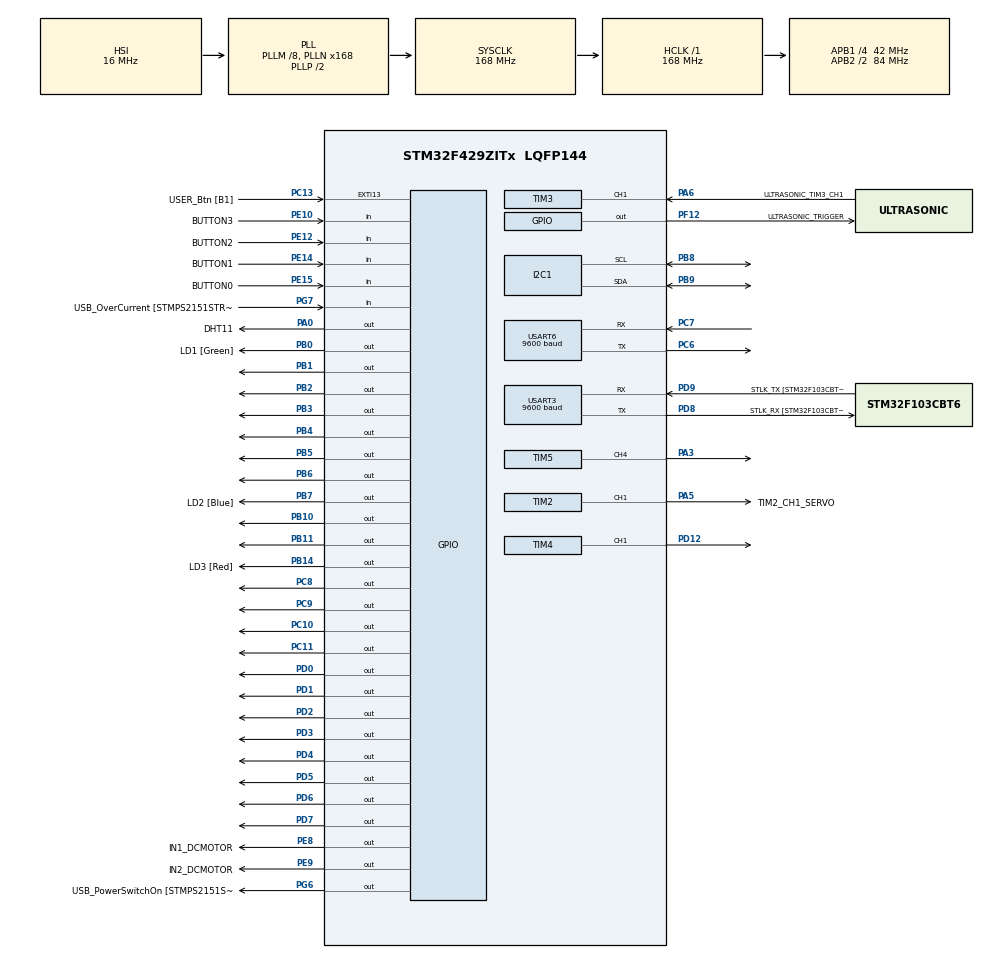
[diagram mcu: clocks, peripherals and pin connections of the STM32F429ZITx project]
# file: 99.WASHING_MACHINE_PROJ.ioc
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Mcu.Family=STM32F4
Mcu.Name=STM32F429ZITx
Mcu.Package=LQFP144
NVIC.PriorityGroup=NVIC_PRIORITYGROUP_4
NVIC.TIM1_TRG_COM_TIM11_IRQn=true\:0\:0\:false\:false\:true\:true\:true\:true
NVIC.TIM1_UP_TIM10_IRQn=true\:0\:0\:false\:false\:true\:true\:true\:true
NVIC.TIM2_IRQn=true\:0\:0\:false\:false\:true\:true\:true\:true
NVIC.TIM3_IRQn=true\:0\:0\:false\:false\:true\:true\:true\:true
NVIC.TIM4_IRQn=true\:0\:0\:false\:false\:true\:true\:true\:true
NVIC.TIM5_IRQn=true\:0\:0\:false\:false\:true\:true\:true\:true
NVIC.USART3_IRQn=true\:0\:0\:false\:false\:true\:true\:true\:true
PA0/WKUP.GPIO_Label=DHT11
PA0/WKUP.Signal=GPIO_Output
PA1.GPIO_Label=RMII_REF_CLK [LAN8742A-CZ-TR_REFCLK0]
PA1.Signal=ETH_REF_CLK
PA10.GPIO_Label=USB_ID
PA10.Signal=USB_OTG_FS_ID
PA11.GPIO_Label=USB_DM
PA11.Signal=USB_OTG_FS_DM
PA12.GPIO_Label=USB_DP
PA12.Signal=USB_OTG_FS_DP
PA13.GPIO_Label=TMS
PA13.Signal=SYS_JTMS-SWDIO
PA14.GPIO_Label=TCK
PA14.Signal=SYS_JTCK-SWCLK
PA2.GPIO_Label=RMII_MDIO [LAN8742A-CZ-TR_MDIO]
PA2.Signal=ETH_MDIO
PA3.Signal=S_TIM5_CH4
PA5.GPIO_Label=TIM2_CH1_SERVO
PA5.Signal=S_TIM2_CH1_ETR
PA6.GPIO_Label=ULTRASONIC_TIM3_CH1
PA6.Signal=S_TIM3_CH1
PA7.GPIO_Label=RMII_CRS_DV [LAN8742A-CZ-TR_CRS_DV]
PA7.Signal=ETH_CRS_DV
PA8.GPIO_Label=USB_SOF [TP1]
PA8.Signal=USB_OTG_FS_SOF
PA9.GPIO_Label=USB_VBUS
PA9.Signal=USB_OTG_FS_VBUS
PB0.GPIO_Label=LD1 [Green]
PB0.Signal=GPIO_Output
PB1.Signal=GPIO_Output
PB10.Signal=GPIO_Output
PB11.Signal=GPIO_Output
PB13.GPIO_Label=RMII_TXD1 [LAN8742A-CZ-TR_TXD1]
PB13.Signal=ETH_TXD1
PB14.GPIO_Label=LD3 [Red]
PB14.Signal=GPIO_Output
PB2/BOOT1.Signal=GPIO_Output
PB3.Signal=GPIO_Output
PB4.Signal=GPIO_Output
PB5.Signal=GPIO_Output
PB6.Signal=GPIO_Output
PB7.GPIO_Label=LD2 [Blue]
PB7.Signal=GPIO_Output
PB8.Mode=I2C
PB8.Signal=I2C1_SCL
PB9.Mode=I2C
PB9.Signal=I2C1_SDA
PC1.GPIO_Label=RMII_MDC [LAN8742A-CZ-TR_MDC]
PC1.Signal=ETH_MDC
PC10.Signal=GPIO_Output
PC11.Signal=GPIO_Output
PC13.GPIO_Label=USER_Btn [B1]
PC13.Signal=GPXTI13
PC14/OSC32_IN.Signal=RCC_OSC32_IN
PC15/OSC32_OUT.Signal=RCC_OSC32_OUT
PC4.GPIO_Label=RMII_RXD0 [LAN8742A-CZ-TR_RXD0]
PC4.Signal=ETH_RXD0
PC5.GPIO_Label=RMII_RXD1 [LAN8742A-CZ-TR_RXD1]
PC5.Signal=ETH_RXD1
PC6.Mode=Asynchronous
PC6.Signal=USART6_TX
PC7.Mode=Asynchronous
PC7.Signal=USART6_RX
PC8.Signal=GPIO_Output
PC9.Signal=GPIO_Output
PD0.Signal=GPIO_Output
PD1.Signal=GPIO_Output
PD12.Signal=S_TIM4_CH1
PD2.Signal=GPIO_Output
PD3.Signal=GPIO_Output
PD4.Signal=GPIO_Output
PD5.Signal=GPIO_Output
PD6.Signal=GPIO_Output
PD7.Signal=GPIO_Output
PD8.GPIO_Label=STLK_RX [STM32F103CBT6_PA3]
PD8.Mode=Asynchronous
PD8.Signal=USART3_TX
PD9.GPIO_Label=STLK_TX [STM32F103CBT6_PA2]
PD9.Mode=Asynchronous
PD9.Signal=USART3_RX
PE10.GPIO_Label=BUTTON3
PE10.Signal=GPIO_Input
PE12.GPIO_Label=BUTTON2
PE12.Signal=GPIO_Input
PE14.GPIO_Label=BUTTON1
PE14.Signal=GPIO_Input
PE15.GPIO_Label=BUTTON0
PE15.Signal=GPIO_Input
PE8.GPIO_Label=IN1_DCMOTOR
PE8.Signal=GPIO_Output
PE9.GPIO_Label=IN2_DCMOTOR
PE9.Signal=GPIO_Output
PF12.GPIO_Label=ULTRASONIC_TRIGGER
PF12.Signal=GPIO_Output
PG11.GPIO_Label=RMII_TX_EN [LAN8742A-CZ-TR_TXEN]
PG11.Signal=ETH_TX_EN
PG13.GPIO_Label=RMII_TXD0 [LAN8742A-CZ-TR_TXD0]
PG13.Signal=ETH_TXD0
PG6.GPIO_Label=USB_PowerSwitchOn [STMPS2151STR_EN]
PG6.Signal=GPIO_Output
PG7.GPIO_Label=USB_OverCurrent [STMPS2151STR_FAULT]
PG7.Signal=GPIO_Input
PH0/OSC_IN.GPIO_Label=MCO [STM32F103CBT6_PA8]
PH0/OSC_IN.Signal=RCC_OSC_IN
PH1/OSC_OUT.Signal=RCC_OSC_OUT
ProjectManager.HeapSize=0x200
ProjectManager.StackSize=0x400
ProjectManager.TargetToolchain=STM32CubeIDE
RCC.48MHZClocksFreq_Value=84000000
RCC.AHBFreq_Value=168000000
RCC.APB1CLKDivider=RCC_HCLK_DIV4
RCC.APB1Freq_Value=42000000
RCC.APB1TimFreq_Value=84000000
RCC.APB2CLKDivider=RCC_HCLK_DIV2
RCC.APB2Freq_Value=84000000
RCC.APB2TimFreq_Value=168000000
RCC.CortexFreq_Value=168000000
RCC.HCLKFreq_Value=168000000
RCC.HSE_VALUE=8000000
RCC.HSI_VALUE=16000000
RCC.LSE_VALUE=32768
RCC.PLLM=8
RCC.PLLMUL=RCC_PLL_MUL9
RCC.PLLN=168
RCC.PRESCALERUSB=RCC_USBCLKSOURCE_PLL_DIV1_5
RCC.SYSCLKFreq_VALUE=168000000
RCC.SYSCLKSource=RCC_SYSCLKSOURCE_PLLCLK
RCC.SYSCLKSourceVirtual=RCC_SYSCLKSOURCE_PLLCLK
RCC.USBFreq_Value=48000000
RCC.VCOOutputFreq_Value=336000000
RTC.Date=16
RTC.Hours=9
RTC.Minutes=38
RTC.Month=RTC_MONTH_OCTOBER
RTC.Year=23
SH.S_TIM2_CH1_ETR.0=TIM2_CH1,PWM Generation1 CH1
SH.S_TIM3_CH1.0=TIM3_CH1,Input_Capture1_from_TI1
SH.S_TIM4_CH1.0=TIM4_CH1,PWM Generation1 CH1
SH.S_TIM5_CH4.0=TIM5_CH4,PWM Generation4 CH4
TIM10.Period=10000-1
TIM10.Prescaler=168-1
TIM11.Prescaler=168-1
TIM2.Channel-PWM\ Generation1\ CH1=TIM_CHANNEL_1
TIM2.Period=1000-1
TIM2.Prescaler=1680-1
TIM2.Pulse-PWM\ Generation1\ CH1=500-1
TIM3.Channel-Input_Capture1_from_TI1=TIM_CHANNEL_1
TIM3.ICPolarity_CH1=TIM_INPUTCHANNELPOLARITY_BOTHEDGE
TIM3.Prescaler=84-1
TIM4.Channel-PWM\ Generation1\ CH1=TIM_CHANNEL_1
TIM4.OCFastMode_PWM-PWM\ Generation1\ CH1=TIM_OCFAST_ENABLE
TIM4.Period=100-1
TIM4.Prescaler=840-1
TIM4.Pulse-PWM\ Generation1\ CH1=70-1
TIM5.Channel-PWM\ Generation4\ CH4=TIM_CHANNEL_4
TIM5.Period=400-1
TIM5.Prescaler=52.5-1
TIM5.Pulse-PWM\ Generation4\ CH4=200-1
USART3.BaudRate=9600
USART3.VirtualMode=VM_ASYNC
USART6.BaudRate=9600
USART6.VirtualMode=VM_ASYNC
VP_RTC_VS_RTC_Activate.Mode=RTC_Enabled
VP_RTC_VS_RTC_Calendar.Mode=RTC_Calendar
VP_TIM10_VS_ClockSourceINT.Mode=Enable_Timer
VP_TIM11_VS_ClockSourceINT.Mode=Enable_Timer
VP_TIM4_VS_ClockSourceINT.Mode=Internal
board=NUCLEO-F429ZI

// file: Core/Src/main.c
/* USER CODE BEGIN Header */
/**
  ******************************************************************************
  * @file           : main.c
  * @brief          : Main program body
  ******************************************************************************
  * @attention
  *
  * Copyright (c) 2023 STMicroelectronics.
  * All rights reserved.
  *
  * This software is licensed under terms that can be found in the LICENSE file
  * in the root directory of this software component.
  * If no LICENSE file comes with this software, it is provided AS-IS.
  *
  ******************************************************************************
  */
/* USER CODE END Header */
#include "main.h"

I2C_HandleTypeDef hi2c1;

RTC_HandleTypeDef hrtc;

TIM_HandleTypeDef htim2;
TIM_HandleTypeDef htim3;
TIM_HandleTypeDef htim4;
TIM_HandleTypeDef htim5;
TIM_HandleTypeDef htim10;
TIM_HandleTypeDef htim11;

UART_HandleTypeDef huart3;
UART_HandleTypeDef huart6;

/* USER CODE BEGIN PV */
uint8_t rx_data;
uint8_t bt_rx_data;
volatile int TIM10_10ms_counter = 0;
volatile int TIM10_10ms_ultrasonic = 0;
/* USER CODE END PV */

void SystemClock_Config(void);
static void MX_GPIO_Init(void);
static void MX_USART3_UART_Init(void);
static void MX_USART6_UART_Init(void);
static void MX_TIM10_Init(void);
static void MX_TIM11_Init(void);
static void MX_TIM3_Init(void);
static void MX_I2C1_Init(void);
static void MX_TIM4_Init(void);
static void MX_TIM2_Init(void);
static void MX_RTC_Init(void);
static void MX_TIM5_Init(void);
/* USER CODE BEGIN PFP */
extern void led_main(void);
extern void pc_command_processing(void);
extern void pc_command_processing2(void);
extern void bt_command_processing(void);
extern void DHT11_main(void);
extern void DHT11_Init(void);
extern void DHT11_processing(void);
extern void ultrasonic_processing(void);
extern void i2c_lcd_main(void);
extern void i2c_lcd_init(void);
extern void lcd_string(uint8_t *str);
extern void move_cursor(uint8_t row, uint8_t column);
extern void dcmotor_pwm_control(void);
extern void servo_motor_test_main(void);
extern void get_rtc(void);
extern void lcd_display_mode_select(void);
extern void set_time_button_ui(void);
extern void buzzer_main();
extern void fnd4digit_main(void);
extern void FND4digit_off(void);
extern void fnd4digit_sec_clock(void);

extern void washing_machine_main(void);
void WM_dcmotor_control(void);

void delay_us(unsigned char us);
/* USER CODE END PFP */

/* USER CODE BEGIN 0 */
//-------------------------
// call by Systick_Handler of Stm32f4xx_it.c
// ARM default timer
// enter here every 1ms
volatile int t1ms_count = 0;		// volatile : disable optimize
volatile int fnd1ms_counter = 0;

void HAL_SYSTICK_Handler(void)		// timer interrupt
{
	t1ms_count++;		// 1ms timer
	fnd1ms_counter++;
}
//----------  printf start ----------
#ifdef __GNUC__
/* With GCC, small printf (option LD Linker->Libraries->Small printf
   set to 'Yes') calls __io_putchar() */
#define PUTCHAR_PROTOTYPE int __io_putchar(int ch)
#else
#define PUTCHAR_PROTOTYPE int fputc(int ch, FILE *f)
#endif /* __GNUC_ */
/**
  * @brief  Retargets the C library printf function to the USART.
  * @param  None
  * @retval None
  */
PUTCHAR_PROTOTYPE   // Add for printf
{
  /* Place your implementation of fputc here */
  /* e.g. write a character to the USART3 and Loop until the end of transmission */
  HAL_UART_Transmit(&huart3, (uint8_t *)&ch, 1, 0xFFFF);

  return ch;
}
//----------  printf end ----------
// move from Driver/STM32E4xx_HAL_Driver/stm32f4xx_hal_tim.c
//
void HAL_TIM_PeriodElapsedCallback(TIM_HandleTypeDef *htim)
{
	if (htim->Instance == TIM10)
	{
		TIM10_10ms_counter++;		// 10ms timer counter
		TIM10_10ms_ultrasonic++;	// ultrasonic trigger counter
	}
}

void delay_us(unsigned char us)
{
	__HAL_TIM_SET_COUNTER(&htim11, 0);		// clear tim11
	while (__HAL_TIM_GET_COUNTER(&htim11) < us)
		;
}
/* USER CODE END 0 */

int main(void)
{

  /* MCU Configuration--------------------------------------------------------*/

  /* Reset of all peripherals, Initializes the Flash interface and the Systick. */
  HAL_Init();

  /* Configure the system clock */
  SystemClock_Config();

  /* Initialize all configured peripherals */
  MX_GPIO_Init();
  MX_USART3_UART_Init();
  MX_USART6_UART_Init();
  MX_TIM10_Init();
  MX_TIM11_Init();
  MX_TIM3_Init();
  MX_I2C1_Init();
  MX_TIM4_Init();
  MX_TIM2_Init();
  MX_RTC_Init();
  MX_TIM5_Init();
  /* USER CODE BEGIN 2 */
  HAL_UART_Receive_IT(&huart3, &rx_data, 1);		// assing to RX INT
  HAL_UART_Receive_IT(&huart6, &bt_rx_data, 1);		// assing to RX INT
  HAL_TIM_Base_Start_IT(&htim10);
  HAL_TIM_Base_Start_IT(&htim11);
  HAL_TIM_IC_Start_IT(&htim3, TIM_CHANNEL_1);		// for count pulse(rising edge & falling edge)
  HAL_TIM_PWM_Start_IT(&htim4, TIM_CHANNEL_1);		// for DC motor PWN control
  HAL_TIM_PWM_Start(&htim2, TIM_CHANNEL_1);
  HAL_TIM_PWM_Start(&htim5, TIM_CHANNEL_4);

  DHT11_Init();
  i2c_lcd_init();
  FND4digit_off();

  TIM10_10ms_counter = 0;
//  printf("led_main() start !!!\n");;
// 	led_main();
//  DHT11_main();
//  i2c_lcd_main();
//  servo_motor_test_main();

  /* USER CODE END 2 */

  /* Infinite loop */
  /* USER CODE BEGIN WHILE */
  while (1)
  {
//	  pc_command_processing();
//	  pc_command_processing2();		// for circular queue
//	  bt_command_processing();
//	  DHT11_processing();
//	  ultrasonic_processing();
//	  dcmotor_pwm_control();
//	  get_rtc();
//	  lcd_display_mode_select();
//	  set_time_button_ui();
//	  buzzer_main();
//	  fnd4digit_main();
//	  fnd4digit_sec_clock();

	  washing_machine_main();

#if 0
	  if (TIM10_10ms_counter >= 5)
	  {
		  HAL_GPIO_TogglePin(GPIOB, GPIO_PIN_0);		// LED1
	  }
	  if (TIM10_10ms_counter >= 10)
	  {
		  HAL_GPIO_TogglePin(GPIOB, GPIO_PIN_7);		// LED2
	  }
	  if (TIM10_10ms_counter >= 15)
	  {
		  HAL_GPIO_TogglePin(GPIOB, GPIO_PIN_14);		// LED3
		  TIM10_10ms_counter = 0;		// clear this variable
	  }
#endif
    /* USER CODE END WHILE */

  }
}

void SystemClock_Config(void)
{
  RCC_OscInitTypeDef RCC_OscInitStruct = {0};
  RCC_ClkInitTypeDef RCC_ClkInitStruct = {0};

  /** Configure the main internal regulator output voltage
  */
  __HAL_RCC_PWR_CLK_ENABLE();
  __HAL_PWR_VOLTAGESCALING_CONFIG(PWR_REGULATOR_VOLTAGE_SCALE1);

  /** Initializes the RCC Oscillators according to the specified parameters
  * in the RCC_OscInitTypeDef structure.
  */
  RCC_OscInitStruct.OscillatorType = RCC_OSCILLATORTYPE_HSI|RCC_OSCILLATORTYPE_LSI;
  RCC_OscInitStruct.HSIState = RCC_HSI_ON;
  RCC_OscInitStruct.HSICalibrationValue = RCC_HSICALIBRATION_DEFAULT;
  RCC_OscInitStruct.LSIState = RCC_LSI_ON;
  RCC_OscInitStruct.PLL.PLLState = RCC_PLL_ON;
  RCC_OscInitStruct.PLL.PLLSource = RCC_PLLSOURCE_HSI;
  RCC_OscInitStruct.PLL.PLLM = 8;
  RCC_OscInitStruct.PLL.PLLN = 168;
  RCC_OscInitStruct.PLL.PLLP = RCC_PLLP_DIV2;
  RCC_OscInitStruct.PLL.PLLQ = 4;
  if (HAL_RCC_OscConfig(&RCC_OscInitStruct) != HAL_OK)
  {
    Error_Handler();
  }

  /** Initializes the CPU, AHB and APB buses clocks
  */
  RCC_ClkInitStruct.ClockType = RCC_CLOCKTYPE_HCLK|RCC_CLOCKTYPE_SYSCLK
                              |RCC_CLOCKTYPE_PCLK1|RCC_CLOCKTYPE_PCLK2;
  RCC_ClkInitStruct.SYSCLKSource = RCC_SYSCLKSOURCE_PLLCLK;
  RCC_ClkInitStruct.AHBCLKDivider = RCC_SYSCLK_DIV1;
  RCC_ClkInitStruct.APB1CLKDivider = RCC_HCLK_DIV4;
  RCC_ClkInitStruct.APB2CLKDivider = RCC_HCLK_DIV2;

  if (HAL_RCC_ClockConfig(&RCC_ClkInitStruct, FLASH_LATENCY_5) != HAL_OK)
  {
    Error_Handler();
  }
}

static void MX_I2C1_Init(void)
{

  hi2c1.Instance = I2C1;
  hi2c1.Init.ClockSpeed = 100000;
  hi2c1.Init.DutyCycle = I2C_DUTYCYCLE_2;
  hi2c1.Init.OwnAddress1 = 0;
  hi2c1.Init.AddressingMode = I2C_ADDRESSINGMODE_7BIT;
  hi2c1.Init.DualAddressMode = I2C_DUALADDRESS_DISABLE;
  hi2c1.Init.OwnAddress2 = 0;
  hi2c1.Init.GeneralCallMode = I2C_GENERALCALL_DISABLE;
  hi2c1.Init.NoStretchMode = I2C_NOSTRETCH_DISABLE;
  if (HAL_I2C_Init(&hi2c1) != HAL_OK)
  {
    Error_Handler();
  }

  /** Configure Analogue filter
  */
  if (HAL_I2CEx_ConfigAnalogFilter(&hi2c1, I2C_ANALOGFILTER_ENABLE) != HAL_OK)
  {
    Error_Handler();
  }

  /** Configure Digital filter
  */
  if (HAL_I2CEx_ConfigDigitalFilter(&hi2c1, 0) != HAL_OK)
  {
    Error_Handler();
  }

}

static void MX_RTC_Init(void)
{

  RTC_TimeTypeDef sTime = {0};
  RTC_DateTypeDef sDate = {0};

  /** Initialize RTC Only
  */
  hrtc.Instance = RTC;
  hrtc.Init.HourFormat = RTC_HOURFORMAT_24;
  hrtc.Init.AsynchPrediv = 127;
  hrtc.Init.SynchPrediv = 255;
  hrtc.Init.OutPut = RTC_OUTPUT_DISABLE;
  hrtc.Init.OutPutPolarity = RTC_OUTPUT_POLARITY_HIGH;
  hrtc.Init.OutPutType = RTC_OUTPUT_TYPE_OPENDRAIN;
  if (HAL_RTC_Init(&hrtc) != HAL_OK)
  {
    Error_Handler();
  }

  /** Initialize RTC and set the Time and Date
  */
  sTime.Hours = 0x9;
  sTime.Minutes = 0x38;
  sTime.Seconds = 0x0;
  sTime.DayLightSaving = RTC_DAYLIGHTSAVING_NONE;
  sTime.StoreOperation = RTC_STOREOPERATION_RESET;
  if (HAL_RTC_SetTime(&hrtc, &sTime, RTC_FORMAT_BCD) != HAL_OK)
  {
    Error_Handler();
  }
  sDate.WeekDay = RTC_WEEKDAY_MONDAY;
  sDate.Month = RTC_MONTH_OCTOBER;
  sDate.Date = 0x16;
  sDate.Year = 0x23;

  if (HAL_RTC_SetDate(&hrtc, &sDate, RTC_FORMAT_BCD) != HAL_OK)
  {
    Error_Handler();
  }

}

static void MX_TIM2_Init(void)
{

  TIM_MasterConfigTypeDef sMasterConfig = {0};
  TIM_OC_InitTypeDef sConfigOC = {0};

  htim2.Instance = TIM2;
  htim2.Init.Prescaler = 1680-1;
  htim2.Init.CounterMode = TIM_COUNTERMODE_UP;
  htim2.Init.Period = 1000-1;
  htim2.Init.ClockDivision = TIM_CLOCKDIVISION_DIV1;
  htim2.Init.AutoReloadPreload = TIM_AUTORELOAD_PRELOAD_DISABLE;
  if (HAL_TIM_PWM_Init(&htim2) != HAL_OK)
  {
    Error_Handler();
  }
  sMasterConfig.MasterOutputTrigger = TIM_TRGO_RESET;
  sMasterConfig.MasterSlaveMode = TIM_MASTERSLAVEMODE_DISABLE;
  if (HAL_TIMEx_MasterConfigSynchronization(&htim2, &sMasterConfig) != HAL_OK)
  {
    Error_Handler();
  }
  sConfigOC.OCMode = TIM_OCMODE_PWM1;
  sConfigOC.Pulse = 500-1;
  sConfigOC.OCPolarity = TIM_OCPOLARITY_HIGH;
  sConfigOC.OCFastMode = TIM_OCFAST_DISABLE;
  if (HAL_TIM_PWM_ConfigChannel(&htim2, &sConfigOC, TIM_CHANNEL_1) != HAL_OK)
  {
    Error_Handler();
  }
  HAL_TIM_MspPostInit(&htim2);

}

static void MX_TIM3_Init(void)
{

  TIM_MasterConfigTypeDef sMasterConfig = {0};
  TIM_IC_InitTypeDef sConfigIC = {0};

  htim3.Instance = TIM3;
  htim3.Init.Prescaler = 84-1;
  htim3.Init.CounterMode = TIM_COUNTERMODE_UP;
  htim3.Init.Period = 65535;
  htim3.Init.ClockDivision = TIM_CLOCKDIVISION_DIV1;
  htim3.Init.AutoReloadPreload = TIM_AUTORELOAD_PRELOAD_DISABLE;
  if (HAL_TIM_IC_Init(&htim3) != HAL_OK)
  {
    Error_Handler();
  }
  sMasterConfig.MasterOutputTrigger = TIM_TRGO_RESET;
  sMasterConfig.MasterSlaveMode = TIM_MASTERSLAVEMODE_DISABLE;
  if (HAL_TIMEx_MasterConfigSynchronization(&htim3, &sMasterConfig) != HAL_OK)
  {
    Error_Handler();
  }
  sConfigIC.ICPolarity = TIM_INPUTCHANNELPOLARITY_BOTHEDGE;
  sConfigIC.ICSelection = TIM_ICSELECTION_DIRECTTI;
  sConfigIC.ICPrescaler = TIM_ICPSC_DIV1;
  sConfigIC.ICFilter = 0;
  if (HAL_TIM_IC_ConfigChannel(&htim3, &sConfigIC, TIM_CHANNEL_1) != HAL_OK)
  {
    Error_Handler();
  }

}

static void MX_TIM4_Init(void)
{

  TIM_ClockConfigTypeDef sClockSourceConfig = {0};
  TIM_MasterConfigTypeDef sMasterConfig = {0};
  TIM_OC_InitTypeDef sConfigOC = {0};

  htim4.Instance = TIM4;
  htim4.Init.Prescaler = 840-1;
  htim4.Init.CounterMode = TIM_COUNTERMODE_UP;
  htim4.Init.Period = 100-1;
  htim4.Init.ClockDivision = TIM_CLOCKDIVISION_DIV1;
  htim4.Init.AutoReloadPreload = TIM_AUTORELOAD_PRELOAD_DISABLE;
  if (HAL_TIM_Base_Init(&htim4) != HAL_OK)
  {
    Error_Handler();
  }
  sClockSourceConfig.ClockSource = TIM_CLOCKSOURCE_INTERNAL;
  if (HAL_TIM_ConfigClockSource(&htim4, &sClockSourceConfig) != HAL_OK)
  {
    Error_Handler();
  }
  if (HAL_TIM_PWM_Init(&htim4) != HAL_OK)
  {
    Error_Handler();
  }
  sMasterConfig.MasterOutputTrigger = TIM_TRGO_RESET;
  sMasterConfig.MasterSlaveMode = TIM_MASTERSLAVEMODE_DISABLE;
  if (HAL_TIMEx_MasterConfigSynchronization(&htim4, &sMasterConfig) != HAL_OK)
  {
    Error_Handler();
  }
  sConfigOC.OCMode = TIM_OCMODE_PWM1;
  sConfigOC.Pulse = 70-1;
  sConfigOC.OCPolarity = TIM_OCPOLARITY_HIGH;
  sConfigOC.OCFastMode = TIM_OCFAST_ENABLE;
  if (HAL_TIM_PWM_ConfigChannel(&htim4, &sConfigOC, TIM_CHANNEL_1) != HAL_OK)
  {
    Error_Handler();
  }
  HAL_TIM_MspPostInit(&htim4);

}

static void MX_TIM5_Init(void)
{

  TIM_MasterConfigTypeDef sMasterConfig = {0};
  TIM_OC_InitTypeDef sConfigOC = {0};

  htim5.Instance = TIM5;
  htim5.Init.Prescaler = 52.5-1;
  htim5.Init.CounterMode = TIM_COUNTERMODE_UP;
  htim5.Init.Period = 400-1;
  htim5.Init.ClockDivision = TIM_CLOCKDIVISION_DIV1;
  htim5.Init.AutoReloadPreload = TIM_AUTORELOAD_PRELOAD_DISABLE;
  if (HAL_TIM_PWM_Init(&htim5) != HAL_OK)
  {
    Error_Handler();
  }
  sMasterConfig.MasterOutputTrigger = TIM_TRGO_RESET;
  sMasterConfig.MasterSlaveMode = TIM_MASTERSLAVEMODE_DISABLE;
  if (HAL_TIMEx_MasterConfigSynchronization(&htim5, &sMasterConfig) != HAL_OK)
  {
    Error_Handler();
  }
  sConfigOC.OCMode = TIM_OCMODE_PWM1;
  sConfigOC.Pulse = 200-1;
  sConfigOC.OCPolarity = TIM_OCPOLARITY_HIGH;
  sConfigOC.OCFastMode = TIM_OCFAST_DISABLE;
  if (HAL_TIM_PWM_ConfigChannel(&htim5, &sConfigOC, TIM_CHANNEL_4) != HAL_OK)
  {
    Error_Handler();
  }
  HAL_TIM_MspPostInit(&htim5);

}

static void MX_TIM10_Init(void)
{

  htim10.Instance = TIM10;
  htim10.Init.Prescaler = 168-1;
  htim10.Init.CounterMode = TIM_COUNTERMODE_UP;
  htim10.Init.Period = 10000-1;
  htim10.Init.ClockDivision = TIM_CLOCKDIVISION_DIV1;
  htim10.Init.AutoReloadPreload = TIM_AUTORELOAD_PRELOAD_DISABLE;
  if (HAL_TIM_Base_Init(&htim10) != HAL_OK)
  {
    Error_Handler();
  }

}

static void MX_TIM11_Init(void)
{

  htim11.Instance = TIM11;
  htim11.Init.Prescaler = 168-1;
  htim11.Init.CounterMode = TIM_COUNTERMODE_UP;
  htim11.Init.Period = 65535;
  htim11.Init.ClockDivision = TIM_CLOCKDIVISION_DIV1;
  htim11.Init.AutoReloadPreload = TIM_AUTORELOAD_PRELOAD_DISABLE;
  if (HAL_TIM_Base_Init(&htim11) != HAL_OK)
  {
    Error_Handler();
  }

}

static void MX_USART3_UART_Init(void)
{

  huart3.Instance = USART3;
  huart3.Init.BaudRate = 9600;
  huart3.Init.WordLength = UART_WORDLENGTH_8B;
  huart3.Init.StopBits = UART_STOPBITS_1;
  huart3.Init.Parity = UART_PARITY_NONE;
  huart3.Init.Mode = UART_MODE_TX_RX;
  huart3.Init.HwFlowCtl = UART_HWCONTROL_NONE;
  huart3.Init.OverSampling = UART_OVERSAMPLING_16;
  if (HAL_UART_Init(&huart3) != HAL_OK)
  {
    Error_Handler();
  }

}

static void MX_USART6_UART_Init(void)
{

  huart6.Instance = USART6;
  huart6.Init.BaudRate = 9600;
  huart6.Init.WordLength = UART_WORDLENGTH_8B;
  huart6.Init.StopBits = UART_STOPBITS_1;
  huart6.Init.Parity = UART_PARITY_NONE;
  huart6.Init.Mode = UART_MODE_TX_RX;
  huart6.Init.HwFlowCtl = UART_HWCONTROL_NONE;
  huart6.Init.OverSampling = UART_OVERSAMPLING_16;
  if (HAL_UART_Init(&huart6) != HAL_OK)
  {
    Error_Handler();
  }

}

static void MX_GPIO_Init(void)
{
  GPIO_InitTypeDef GPIO_InitStruct = {0};

  /* GPIO Ports Clock Enable */
  __HAL_RCC_GPIOC_CLK_ENABLE();
  __HAL_RCC_GPIOH_CLK_ENABLE();
  __HAL_RCC_GPIOA_CLK_ENABLE();
  __HAL_RCC_GPIOB_CLK_ENABLE();
  __HAL_RCC_GPIOF_CLK_ENABLE();
  __HAL_RCC_GPIOE_CLK_ENABLE();
  __HAL_RCC_GPIOD_CLK_ENABLE();
  __HAL_RCC_GPIOG_CLK_ENABLE();

  /*Configure GPIO pin Output Level */
  HAL_GPIO_WritePin(DHT11_GPIO_Port, DHT11_Pin, GPIO_PIN_RESET);

  /*Configure GPIO pin Output Level */
  HAL_GPIO_WritePin(GPIOB, LD1_Pin|GPIO_PIN_1|GPIO_PIN_2|GPIO_PIN_10
                          |GPIO_PIN_11|LD3_Pin|GPIO_PIN_3|GPIO_PIN_4
                          |GPIO_PIN_5|GPIO_PIN_6|LD2_Pin, GPIO_PIN_RESET);

  /*Configure GPIO pin Output Level */
  HAL_GPIO_WritePin(ULTRASONIC_TRIGGER_GPIO_Port, ULTRASONIC_TRIGGER_Pin, GPIO_PIN_RESET);

  /*Configure GPIO pin Output Level */
  HAL_GPIO_WritePin(GPIOE, IN1_DCMOTOR_Pin|IN2_DCMOTOR_Pin, GPIO_PIN_RESET);

  /*Configure GPIO pin Output Level */
  HAL_GPIO_WritePin(USB_PowerSwitchOn_GPIO_Port, USB_PowerSwitchOn_Pin, GPIO_PIN_RESET);

  /*Configure GPIO pin Output Level */
  HAL_GPIO_WritePin(GPIOC, GPIO_PIN_8|GPIO_PIN_9|GPIO_PIN_10|GPIO_PIN_11, GPIO_PIN_RESET);

  /*Configure GPIO pin Output Level */
  HAL_GPIO_WritePin(GPIOD, GPIO_PIN_0|GPIO_PIN_1|GPIO_PIN_2|GPIO_PIN_3
                          |GPIO_PIN_4|GPIO_PIN_5|GPIO_PIN_6|GPIO_PIN_7, GPIO_PIN_RESET);

  /*Configure GPIO pin : USER_Btn_Pin */
  GPIO_InitStruct.Pin = USER_Btn_Pin;
  GPIO_InitStruct.Mode = GPIO_MODE_IT_RISING;
  GPIO_InitStruct.Pull = GPIO_NOPULL;
  HAL_GPIO_Init(USER_Btn_GPIO_Port, &GPIO_InitStruct);

  /*Configure GPIO pins : RMII_MDC_Pin RMII_RXD0_Pin RMII_RXD1_Pin */
  GPIO_InitStruct.Pin = RMII_MDC_Pin|RMII_RXD0_Pin|RMII_RXD1_Pin;
  GPIO_InitStruct.Mode = GPIO_MODE_AF_PP;
  GPIO_InitStruct.Pull = GPIO_NOPULL;
  GPIO_InitStruct.Speed = GPIO_SPEED_FREQ_VERY_HIGH;
  GPIO_InitStruct.Alternate = GPIO_AF11_ETH;
  HAL_GPIO_Init(GPIOC, &GPIO_InitStruct);

  /*Configure GPIO pin : DHT11_Pin */
  GPIO_InitStruct.Pin = DHT11_Pin;
  GPIO_InitStruct.Mode = GPIO_MODE_OUTPUT_PP;
  GPIO_InitStruct.Pull = GPIO_NOPULL;
  GPIO_InitStruct.Speed = GPIO_SPEED_FREQ_LOW;
  HAL_GPIO_Init(DHT11_GPIO_Port, &GPIO_InitStruct);

  /*Configure GPIO pins : RMII_REF_CLK_Pin RMII_MDIO_Pin RMII_CRS_DV_Pin */
  GPIO_InitStruct.Pin = RMII_REF_CLK_Pin|RMII_MDIO_Pin|RMII_CRS_DV_Pin;
  GPIO_InitStruct.Mode = GPIO_MODE_AF_PP;
  GPIO_InitStruct.Pull = GPIO_NOPULL;
  GPIO_InitStruct.Speed = GPIO_SPEED_FREQ_VERY_HIGH;
  GPIO_InitStruct.Alternate = GPIO_AF11_ETH;
  HAL_GPIO_Init(GPIOA, &GPIO_InitStruct);

  /*Configure GPIO pins : LD1_Pin PB1 PB2 PB10
                           PB11 LD3_Pin PB3 PB4
                           PB5 PB6 LD2_Pin */
  GPIO_InitStruct.Pin = LD1_Pin|GPIO_PIN_1|GPIO_PIN_2|GPIO_PIN_10
                          |GPIO_PIN_11|LD3_Pin|GPIO_PIN_3|GPIO_PIN_4
                          |GPIO_PIN_5|GPIO_PIN_6|LD2_Pin;
  GPIO_InitStruct.Mode = GPIO_MODE_OUTPUT_PP;
  GPIO_InitStruct.Pull = GPIO_NOPULL;
  GPIO_InitStruct.Speed = GPIO_SPEED_FREQ_LOW;
  HAL_GPIO_Init(GPIOB, &GPIO_InitStruct);

  /*Configure GPIO pin : ULTRASONIC_TRIGGER_Pin */
  GPIO_InitStruct.Pin = ULTRASONIC_TRIGGER_Pin;
  GPIO_InitStruct.Mode = GPIO_MODE_OUTPUT_PP;
  GPIO_InitStruct.Pull = GPIO_NOPULL;
  GPIO_InitStruct.Speed = GPIO_SPEED_FREQ_LOW;
  HAL_GPIO_Init(ULTRASONIC_TRIGGER_GPIO_Port, &GPIO_InitStruct);

  /*Configure GPIO pins : IN1_DCMOTOR_Pin IN2_DCMOTOR_Pin */
  GPIO_InitStruct.Pin = IN1_DCMOTOR_Pin|IN2_DCMOTOR_Pin;
  GPIO_InitStruct.Mode = GPIO_MODE_OUTPUT_PP;
  GPIO_InitStruct.Pull = GPIO_NOPULL;
  GPIO_InitStruct.Speed = GPIO_SPEED_FREQ_LOW;
  HAL_GPIO_Init(GPIOE, &GPIO_InitStruct);

  /*Configure GPIO pins : BUTTON3_Pin BUTTON2_Pin BUTTON1_Pin BUTTON0_Pin */
  GPIO_InitStruct.Pin = BUTTON3_Pin|BUTTON2_Pin|BUTTON1_Pin|BUTTON0_Pin;
  GPIO_InitStruct.Mode = GPIO_MODE_INPUT;
  GPIO_InitStruct.Pull = GPIO_NOPULL;
  HAL_GPIO_Init(GPIOE, &GPIO_InitStruct);

  /*Configure GPIO pin : RMII_TXD1_Pin */
  GPIO_InitStruct.Pin = RMII_TXD1_Pin;
  GPIO_InitStruct.Mode = GPIO_MODE_AF_PP;
  GPIO_InitStruct.Pull = GPIO_NOPULL;
  GPIO_InitStruct.Speed = GPIO_SPEED_FREQ_VERY_HIGH;
  GPIO_InitStruct.Alternate = GPIO_AF11_ETH;
  HAL_GPIO_Init(RMII_TXD1_GPIO_Port, &GPIO_InitStruct);

  /*Configure GPIO pin : USB_PowerSwitchOn_Pin */
  GPIO_InitStruct.Pin = USB_PowerSwitchOn_Pin;
  GPIO_InitStruct.Mode = GPIO_MODE_OUTPUT_PP;
  GPIO_InitStruct.Pull = GPIO_NOPULL;
  GPIO_InitStruct.Speed = GPIO_SPEED_FREQ_LOW;
  HAL_GPIO_Init(USB_PowerSwitchOn_GPIO_Port, &GPIO_InitStruct);

  /*Configure GPIO pin : USB_OverCurrent_Pin */
  GPIO_InitStruct.Pin = USB_OverCurrent_Pin;
  GPIO_InitStruct.Mode = GPIO_MODE_INPUT;
  GPIO_InitStruct.Pull = GPIO_NOPULL;
  HAL_GPIO_Init(USB_OverCurrent_GPIO_Port, &GPIO_InitStruct);

  /*Configure GPIO pins : PC8 PC9 PC10 PC11 */
  GPIO_InitStruct.Pin = GPIO_PIN_8|GPIO_PIN_9|GPIO_PIN_10|GPIO_PIN_11;
  GPIO_InitStruct.Mode = GPIO_MODE_OUTPUT_PP;
  GPIO_InitStruct.Pull = GPIO_NOPULL;
  GPIO_InitStruct.Speed = GPIO_SPEED_FREQ_LOW;
  HAL_GPIO_Init(GPIOC, &GPIO_InitStruct);

  /*Configure GPIO pins : USB_SOF_Pin USB_ID_Pin USB_DM_Pin USB_DP_Pin */
  GPIO_InitStruct.Pin = USB_SOF_Pin|USB_ID_Pin|USB_DM_Pin|USB_DP_Pin;
  GPIO_InitStruct.Mode = GPIO_MODE_AF_PP;
  GPIO_InitStruct.Pull = GPIO_NOPULL;
  GPIO_InitStruct.Speed = GPIO_SPEED_FREQ_VERY_HIGH;
  GPIO_InitStruct.Alternate = GPIO_AF10_OTG_FS;
  HAL_GPIO_Init(GPIOA, &GPIO_InitStruct);

  /*Configure GPIO pin : USB_VBUS_Pin */
  GPIO_InitStruct.Pin = USB_VBUS_Pin;
  GPIO_InitStruct.Mode = GPIO_MODE_INPUT;
  GPIO_InitStruct.Pull = GPIO_NOPULL;
  HAL_GPIO_Init(USB_VBUS_GPIO_Port, &GPIO_InitStruct);

  /*Configure GPIO pins : PD0 PD1 PD2 PD3
                           PD4 PD5 PD6 PD7 */
  GPIO_InitStruct.Pin = GPIO_PIN_0|GPIO_PIN_1|GPIO_PIN_2|GPIO_PIN_3
                          |GPIO_PIN_4|GPIO_PIN_5|GPIO_PIN_6|GPIO_PIN_7;
  GPIO_InitStruct.Mode = GPIO_MODE_OUTPUT_PP;
  GPIO_InitStruct.Pull = GPIO_NOPULL;
  GPIO_InitStruct.Speed = GPIO_SPEED_FREQ_LOW;
  HAL_GPIO_Init(GPIOD, &GPIO_InitStruct);

  /*Configure GPIO pins : RMII_TX_EN_Pin RMII_TXD0_Pin */
  GPIO_InitStruct.Pin = RMII_TX_EN_Pin|RMII_TXD0_Pin;
  GPIO_InitStruct.Mode = GPIO_MODE_AF_PP;
  GPIO_InitStruct.Pull = GPIO_NOPULL;
  GPIO_InitStruct.Speed = GPIO_SPEED_FREQ_VERY_HIGH;
  GPIO_InitStruct.Alternate = GPIO_AF11_ETH;
  HAL_GPIO_Init(GPIOG, &GPIO_InitStruct);

}

void Error_Handler(void)
{
  __disable_irq();
  while (1)
  {
  }
}
